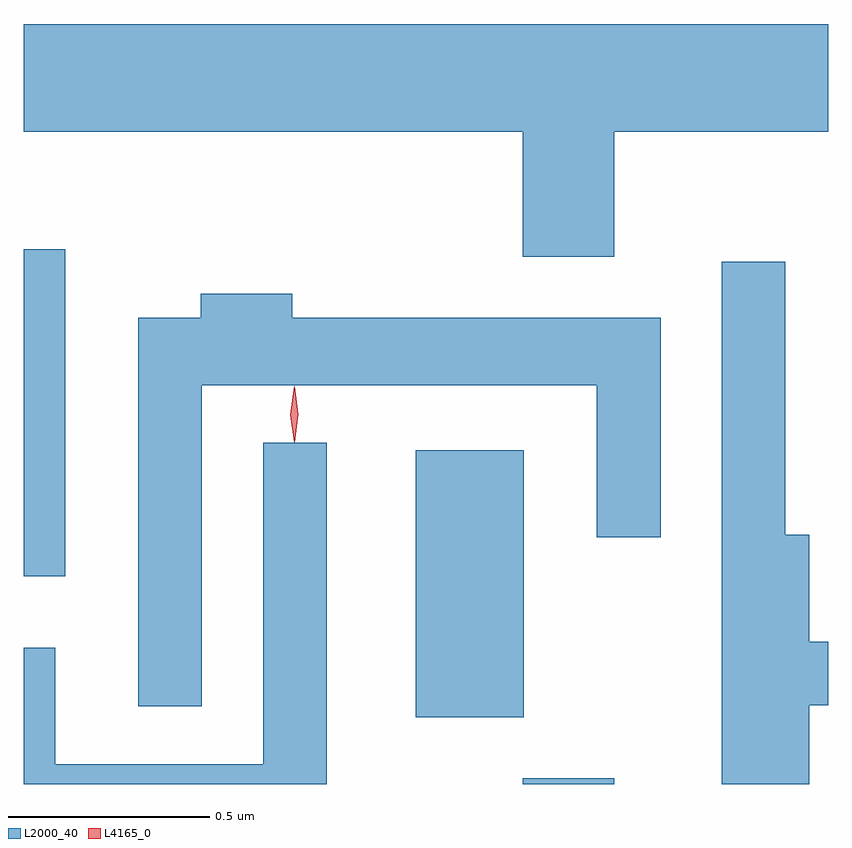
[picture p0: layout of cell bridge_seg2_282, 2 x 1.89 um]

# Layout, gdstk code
import gdstk
lib = gdstk.Library(unit=1e-6, precision=1e-09)
def R(c, l, rs):  # rectangles x0, y0, x1, y1
    for r in rs: c.add(gdstk.rectangle(r[:2], r[2:], *l))
def P(c, l, *ps):  # polygons
    for p in ps: c.add(gdstk.Polygon(p, *l))
L2000_40 = (2000, 40)
L4165_0 = (4165, 0)

bridge_seg2_282 = lib.new_cell('bridge_seg2_282')
R(bridge_seg2_282, L2000_40, [(558.511,1071.115,558.739,1071.129), (558.246,1071.281,558.514,1071.944), (557.271,1071.631,557.374,1072.444)])
P(bridge_seg2_282, L2000_40, [(558.739,1072.736),(559.271,1072.736),(559.271,1073.004),(557.271,1073.004),(557.271,1072.736),(558.511,1072.736),(558.511,1072.426),(558.739,1072.426)],
  [(559.224,1071.311),(559.271,1071.311),(559.271,1071.469),(559.224,1071.469),(559.224,1071.734),(559.164,1071.734),(559.164,1072.413),(559.006,1072.413),(559.006,1071.115),(559.224,1071.115)],
  [(557.714,1072.106),(558.696,1072.106),(558.696,1071.728),(558.854,1071.728),(558.854,1072.274),(557.939,1072.274),(557.939,1072.334),(557.711,1072.334),(557.711,1072.274),(557.556,1072.274),(557.556,1071.308),(557.714,1071.308)],
  [(558.024,1071.963),(557.866,1071.963),(557.866,1071.164),(557.349,1071.164),(557.349,1071.454),(557.271,1071.454),(557.271,1071.115),(558.024,1071.115)])
P(bridge_seg2_282, L4165_0, [(557.944,1071.964),(557.944,1071.964),(557.934,1072.033),(557.944,1072.103),(557.944,1072.103),(557.945,1072.103),(557.954,1072.033),(557.945,1071.964)])

lib.write_gds('bridge_seg2_282.gds')
